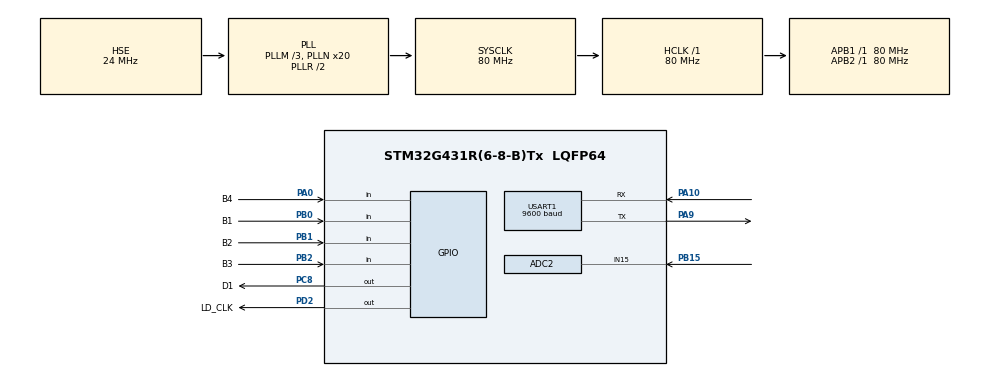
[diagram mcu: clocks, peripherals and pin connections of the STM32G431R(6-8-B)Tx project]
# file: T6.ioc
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ADC2.Channel-0\#ChannelRegularConversion=ADC_CHANNEL_15
ADC2.NbrOfConversionFlag=1
ADC2.OffsetNumber-0\#ChannelRegularConversion=ADC_OFFSET_NONE
ADC2.Rank-0\#ChannelRegularConversion=1
ADC2.SamplingTime-0\#ChannelRegularConversion=ADC_SAMPLETIME_2CYCLES_5
Mcu.Family=STM32G4
Mcu.Name=STM32G431R(6-8-B)Tx
Mcu.Package=LQFP64
NVIC.PriorityGroup=NVIC_PRIORITYGROUP_4
NVIC.RTC_Alarm_IRQn=true\:0\:0\:false\:false\:true\:true\:true
NVIC.TIM4_IRQn=true\:0\:0\:false\:false\:true\:true\:true
NVIC.USART1_IRQn=true\:0\:0\:false\:false\:true\:true\:true
PA0.GPIO_Label=B4
PA0.Signal=GPIO_Input
PA10.Mode=Asynchronous
PA10.Signal=USART1_RX
PA9.Mode=Asynchronous
PA9.Signal=USART1_TX
PB0.GPIO_Label=B1
PB0.Signal=GPIO_Input
PB1.GPIO_Label=B2
PB1.Signal=GPIO_Input
PB15.Mode=IN15-Single-Ended
PB15.Signal=ADC2_IN15
PB2.GPIO_Label=B3
PB2.Signal=GPIO_Input
PC14-OSC32_IN.Mode=LSE-External-Oscillator
PC14-OSC32_IN.Signal=RCC_OSC32_IN
PC15-OSC32_OUT.Mode=LSE-External-Oscillator
PC15-OSC32_OUT.Signal=RCC_OSC32_OUT
PC8.GPIO_Label=D1
PC8.Signal=GPIO_Output
PD2.GPIO_Label=LD_CLK
PD2.Signal=GPIO_Output
PF0-OSC_IN.Mode=HSE-External-Oscillator
PF0-OSC_IN.Signal=RCC_OSC_IN
PF1-OSC_OUT.Mode=HSE-External-Oscillator
PF1-OSC_OUT.Signal=RCC_OSC_OUT
ProjectManager.HeapSize=0x200
ProjectManager.StackSize=0x400
ProjectManager.TargetToolchain=MDK-ARM V5.27
RCC.ADC12Freq_Value=80000000
RCC.AHBFreq_Value=80000000
RCC.APB1Freq_Value=80000000
RCC.APB1TimFreq_Value=80000000
RCC.APB2Freq_Value=80000000
RCC.APB2TimFreq_Value=80000000
RCC.CortexFreq_Value=80000000
RCC.EXTERNAL_CLOCK_VALUE=12288000
RCC.HCLKFreq_Value=80000000
RCC.HSE_VALUE=24000000
RCC.HSI48_VALUE=48000000
RCC.HSI_VALUE=16000000
RCC.PLLM=RCC_PLLM_DIV3
RCC.PLLN=20
RCC.PLLSourceVirtual=RCC_PLLSOURCE_HSE
RCC.SYSCLKFreq_VALUE=80000000
RCC.SYSCLKSource=RCC_SYSCLKSOURCE_PLLCLK
RCC.USBFreq_Value=80000000
RCC.VCOOutputFreq_Value=160000000
RTC.Alarm-Alarm\ A=RTC_ALARM_A
RTC.AlarmDateWeekDay-Alarm\ A=2
RTC.AlarmDateWeekDaySel-Alarm\ A=RTC_ALARMDATEWEEKDAYSEL_DATE
RTC.Hours=23
RTC.Hours_A-Alarm\ A=0
RTC.Minutes=59
RTC.Minutes_A-Alarm\ A=0
RTC.Seconds=55
RTC.Seconds_A-Alarm\ A=0
TIM4.PeriodNoDither=1000-1
TIM4.Prescaler=80-1
USART1.BaudRate=9600
USART1.VirtualMode-Asynchronous=VM_ASYNC
VP_RTC_VS_RTC_Activate.Mode=RTC_Enabled
VP_RTC_VS_RTC_Alarm_A_Intern.Mode=Alarm A
VP_RTC_VS_RTC_Calendar.Mode=RTC_Calendar
VP_SYS_VS_DBSignals.Mode=DisableDeadBatterySignals
VP_TIM4_VS_ClockSourceINT.Mode=Internal
board=custom

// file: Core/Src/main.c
/* USER CODE BEGIN Header */
/**
  ******************************************************************************
  * @file           : main.c
  * @brief          : Main program body
  ******************************************************************************
  * @attention
  *
  * <h2><center>&copy; Copyright (c) 2021 STMicroelectronics.
  * All rights reserved.</center></h2>
  *
  * This software component is licensed by ST under BSD 3-Clause license,
  * the "License"; You may not use this file except in compliance with the
  * License. You may obtain a copy of the License at:
  *                        opensource.org/licenses/BSD-3-Clause
  *
  ******************************************************************************
  */
/* USER CODE END Header */
#include "main.h"
#include "adc.h"
#include "rtc.h"
#include "tim.h"
#include "usart.h"
#include "gpio.h"

/* USER CODE BEGIN Includes */
#include "lcd.h"
#include <stdio.h>
#include <string.h>
/* USER CODE END Includes */

/* USER CODE BEGIN PD */
#define DISPLAY_VIEW 0
#define SETTING_VIEW 1
#define HOUR_SELECT 1
#define MIN_SELECT 2
#define SEC_SELECT 3
/* USER CODE END PD */

/* USER CODE BEGIN PM */
#define KB1 HAL_GPIO_ReadPin(B1_GPIO_Port, B1_Pin)
#define KB2 HAL_GPIO_ReadPin(B2_GPIO_Port, B2_Pin)
#define KB3 HAL_GPIO_ReadPin(B3_GPIO_Port, B3_Pin)
#define KB4 HAL_GPIO_ReadPin(B4_GPIO_Port, B4_Pin)

/* USER CODE END PM */

/* USER CODE BEGIN PV */
_Bool LED_State = 1;//led的状态
_Bool Led_Flag = 0;
_Bool Key_Flag = 0;
_Bool Adc_Flag = 0;
_Bool Alarm_Flag = 0;
_Bool rx_Flag = 0;
RTC_TimeTypeDef sTime;
RTC_DateTypeDef sDate;
RTC_AlarmTypeDef sAlarm;
uint16_t Led_Val;//led的值
uint8_t View_Model = 0;//展示的页面
float VDD = 3.3;
float v1_val;//电压值
float k_val = 0.1;//k的值

uint8_t Setting_Model = 1;//要设置的时间
uint8_t hour, min, sec;
uint8_t ahour, amin, asec;

uint8_t rx_buff[1];
uint8_t rx_data[100];
uint16_t rx_count;
/* USER CODE END PV */

void SystemClock_Config(void);

/* USER CODE BEGIN 0 */
//控制LED灯的函数
void TurnOff_LEDS()
{
	Led_Val = 0xFF00;
	HAL_GPIO_WritePin(LD_CLK_GPIO_Port, LD_CLK_Pin, GPIO_PIN_SET);
	GPIOC->ODR = (uint32_t)Led_Val;
	HAL_GPIO_WritePin(LD_CLK_GPIO_Port, LD_CLK_Pin, GPIO_PIN_RESET);
}
void TurnOn_LED(uint8_t i)
{
	Led_Val &= ~(0x01<<(7+i));
	HAL_GPIO_WritePin(LD_CLK_GPIO_Port, LD_CLK_Pin, GPIO_PIN_SET);
	GPIOC->ODR = (uint32_t)Led_Val;
	HAL_GPIO_WritePin(LD_CLK_GPIO_Port, LD_CLK_Pin, GPIO_PIN_RESET);
}
void TurnOff_LED(uint8_t i)
{
	Led_Val |= (0x01<<(7+i));
	HAL_GPIO_WritePin(LD_CLK_GPIO_Port, LD_CLK_Pin, GPIO_PIN_SET);
	GPIOC->ODR = (uint32_t)Led_Val;
	HAL_GPIO_WritePin(LD_CLK_GPIO_Port, LD_CLK_Pin, GPIO_PIN_RESET);
}
_Bool ledodd = 1;
void LD_Blink()
{
	if(ledodd)
	{
		TurnOn_LED(1);
	}else{
		TurnOff_LED(1);
	}
	ledodd = !ledodd;
}
//获取ADC
uint32_t getADC(void)
{
	uint32_t adc = 0;

	HAL_ADC_Start(&hadc2);
	adc = HAL_ADC_GetValue(&hadc2);

	return adc;
}
void Display()
{
	uint8_t buf[30];
	if(Adc_Flag)
	{
		Adc_Flag = 0;
		v1_val = getADC() / 4096.0f *3.3f;
	}
	sprintf((char *)buf, "   V1: %.2f", v1_val);
	LCD_DisplayStringLine(Line2, (uint8_t *)buf);
	sprintf((char *)buf, "   k: %.1f", k_val);
	LCD_DisplayStringLine(Line3, (uint8_t *)buf);
	if(LED_State)
	{
		LCD_DisplayStringLine(Line4, (uint8_t *)"   LED: ON ");
	}else{
		LCD_DisplayStringLine(Line4, (uint8_t *)"   LED: OFF");
	}
	HAL_RTC_GetTime(&hrtc, &sTime, RTC_FORMAT_BIN);
	HAL_RTC_GetDate(&hrtc, &sDate, RTC_FORMAT_BIN);
	hour = sTime.Hours;
	min = sTime.Minutes;
	sec = sTime.Seconds;
	sprintf((char *)buf, "   T:%02d-%02d-%02d", hour, min, sec);
	LCD_DisplayStringLine(Line5, (uint8_t *)buf);
	LCD_DisplayStringLine(Line8, (uint8_t *)"                 1");
}

void Setting()
{
	LCD_SetTextColor(Black);
	LCD_DisplayStringLine(Line2, (uint8_t *)"       SETTING   ");
	if(Setting_Model == HOUR_SELECT)
	{
		LCD_SetTextColor(Red);
		LCD_DisplayChar(Line4, 319 -16 *6, ahour/10+48);
		LCD_DisplayChar(Line4, 319 -16 *7, ahour%10+48);
		LCD_SetTextColor(Black);
	}else{
		LCD_SetTextColor(Black);
		LCD_DisplayChar(Line4, 319 -16 *6, ahour/10+48);
		LCD_DisplayChar(Line4, 319 -16 *7, ahour%10+48);
	}

	if(Setting_Model == MIN_SELECT)
	{
		LCD_SetTextColor(Red);
		LCD_DisplayChar(Line4, 319 -16 *9, amin/10+48);
		LCD_DisplayChar(Line4, 319 -16 *10, amin%10+48);
		LCD_SetTextColor(Black);
	}else{
		LCD_SetTextColor(Black);
		LCD_DisplayChar(Line4, 319 -16 *9, amin/10+48);
		LCD_DisplayChar(Line4, 319 -16 *10, amin%10+48);
	}

	if(Setting_Model == SEC_SELECT)
	{
		LCD_SetTextColor(Red);
		LCD_DisplayChar(Line4, 319 -16 *12, asec/10+48);
		LCD_DisplayChar(Line4, 319 -16 *13, asec%10+48);
		LCD_SetTextColor(Black);
	}else{
		LCD_SetTextColor(Black);
		LCD_DisplayChar(Line4, 319 -16 *12, asec/10+48);
		LCD_DisplayChar(Line4, 319 -16 *13, asec%10+48);
	}
	LCD_SetTextColor(Black);
	LCD_DisplayChar(Line4, 319 -16 *8, '-');
	LCD_DisplayChar(Line4, 319 -16 *11, '-');
	LCD_DisplayStringLine(Line8, (uint8_t *)"                 2");
}
void ReadKey()
{
	//按键1
	static uint8_t b1_sum;
	if(KB1 == 0)
	{
		b1_sum++;
		if(b1_sum == 1)
		{
			LED_State = !LED_State;
		}
	}else if(KB1 == 1)
	{
		b1_sum = 0;
	}
	//按键2
	static uint8_t b2_sum;
	if(KB2 == 0)
	{
		b2_sum++;
		if(b2_sum == 1)
		{
			switch(View_Model)
			{
				case DISPLAY_VIEW://进入设置界面
					HAL_RTC_GetAlarm(&hrtc, &sAlarm, RTC_ALARM_A,RTC_FORMAT_BIN);
					ahour = sAlarm.AlarmTime.Hours;
					amin = sAlarm.AlarmTime.Minutes;
					asec = sAlarm.AlarmTime.Seconds;
					LCD_Clear(White);
					View_Model = SETTING_VIEW;
					break;
				case SETTING_VIEW:
					LCD_Clear(White);
					sAlarm.AlarmTime.Hours = ahour;
					sAlarm.AlarmTime.Minutes = amin;
					sAlarm.AlarmTime.Seconds = asec;
					HAL_RTC_SetAlarm_IT(&hrtc, &sAlarm, RTC_FORMAT_BIN);
					View_Model = DISPLAY_VIEW;
					break;
			}
		}
	}else if(KB2 == 1)
	{
		b2_sum = 0;
	}

	//按键3
	static uint8_t b3_sum;
	if(KB3 == 0)
	{
		b3_sum++;
		if(b3_sum == 1 && View_Model == SETTING_VIEW)
		{
			Setting_Model = Setting_Model % 3 + 1;
		}
	}else if(KB3 == 1)
	{
		b3_sum = 0;
	}

	//按键4
	static uint8_t b4_sum;
	if(KB4 == 0)
	{
		b4_sum++;
		if(b4_sum == 1)
		{
				switch(Setting_Model)
				{
					case HOUR_SELECT:
						if(++ahour == 24)
						{
							ahour = 0;
						}
						break;
					case MIN_SELECT:
						if(++amin == 60)
						{
							amin = 0;
						}
						break;
					case SEC_SELECT:
						if(++asec == 60)
						{
							asec = 0;
						}
						break;
				}
		}
	}else if(KB4 == 1)
	{
		b4_sum = 0;
	}
}
void Display_Proc()
{
	switch(View_Model)
	{
		case DISPLAY_VIEW:
			Display();
			break;
		case SETTING_VIEW:
			Setting();
			break;
	}
}
int fputc(int ch, FILE *f)
{
	HAL_UART_Transmit(&huart1, (uint8_t *)&ch, 1, HAL_MAX_DELAY);
	return ch;
}

/* USER CODE END 0 */

int main(void)
{

  /* MCU Configuration--------------------------------------------------------*/

  /* Reset of all peripherals, Initializes the Flash interface and the Systick. */
  HAL_Init();

  /* Configure the system clock */
  SystemClock_Config();

  /* Initialize all configured peripherals */
  MX_GPIO_Init();
  MX_RTC_Init();
  MX_USART1_UART_Init();
  MX_TIM4_Init();
  MX_ADC2_Init();
  /* USER CODE BEGIN 2 */
	HAL_ADCEx_Calibration_Start(&hadc2, ADC_SINGLE_ENDED);
	//初始化LCD
	LCD_Init();
	LCD_Clear(White);
	LCD_SetBackColor(White);
	LCD_SetTextColor(Black);

	TurnOff_LEDS();
	//开启RTC时钟
	HAL_RTC_SetAlarm_IT(&hrtc, &sAlarm, RTC_FORMAT_BIN);
	//启动定时器4中断
	HAL_TIM_Base_Start_IT(&htim4);
	//开启串口中断接收
	HAL_UART_Receive_IT(&huart1, rx_buff, 1);
  /* USER CODE END 2 */

  /* Infinite loop */
  /* USER CODE BEGIN WHILE */
  while (1)
  {
		Display_Proc();
    /* USER CODE END WHILE */

    /* USER CODE BEGIN 3 */
		if(Key_Flag)
		{
			Key_Flag = 0;
			ReadKey();
		}
		if(Led_Flag && LED_State)
		{
			Led_Flag = 0;
			if(v1_val > (float)(VDD*k_val))
			{
				LD_Blink();
			}
		}else if(!LED_State){
			TurnOff_LED(1);
		}
		if(Alarm_Flag)
		{
			HAL_RTC_GetTime(&hrtc, &sTime, RTC_FORMAT_BIN);
			HAL_RTC_GetDate(&hrtc, &sDate, RTC_FORMAT_BIN);
			printf("%.2f+%.1f+%02d%02d%02d\n", v1_val, k_val, sTime.Hours, sTime.Minutes, sTime.Seconds);
			Alarm_Flag = 0;
		}
		if(rx_Flag)
		{
			if(rx_count == 4 && rx_data[0] == 'k')
			{
				if(rx_data[1] == '0' && rx_data[2] == '.' && (rx_data[3] >= '1' && rx_data[3] <= '9'))
				{
					printf("ok\n");
					k_val = (float)(rx_data[3] - 48) * 0.1f;
				}else{
					printf("Error\n");
				}
			}else{
				printf("Error\n");
			}
			rx_count = 0;
			memset(rx_data, 0, sizeof(rx_data));
			rx_Flag = 0;

		}
  }
  /* USER CODE END 3 */
}

void SystemClock_Config(void)
{
  RCC_OscInitTypeDef RCC_OscInitStruct = {0};
  RCC_ClkInitTypeDef RCC_ClkInitStruct = {0};
  RCC_PeriphCLKInitTypeDef PeriphClkInit = {0};

  /** Configure the main internal regulator output voltage
  */
  HAL_PWREx_ControlVoltageScaling(PWR_REGULATOR_VOLTAGE_SCALE1);
  /** Initializes the RCC Oscillators according to the specified parameters
  * in the RCC_OscInitTypeDef structure.
  */
  RCC_OscInitStruct.OscillatorType = RCC_OSCILLATORTYPE_LSI|RCC_OSCILLATORTYPE_HSE;
  RCC_OscInitStruct.HSEState = RCC_HSE_ON;
  RCC_OscInitStruct.LSIState = RCC_LSI_ON;
  RCC_OscInitStruct.PLL.PLLState = RCC_PLL_ON;
  RCC_OscInitStruct.PLL.PLLSource = RCC_PLLSOURCE_HSE;
  RCC_OscInitStruct.PLL.PLLM = RCC_PLLM_DIV3;
  RCC_OscInitStruct.PLL.PLLN = 20;
  RCC_OscInitStruct.PLL.PLLP = RCC_PLLP_DIV2;
  RCC_OscInitStruct.PLL.PLLQ = RCC_PLLQ_DIV2;
  RCC_OscInitStruct.PLL.PLLR = RCC_PLLR_DIV2;
  if (HAL_RCC_OscConfig(&RCC_OscInitStruct) != HAL_OK)
  {
    Error_Handler();
  }
  /** Initializes the CPU, AHB and APB buses clocks
  */
  RCC_ClkInitStruct.ClockType = RCC_CLOCKTYPE_HCLK|RCC_CLOCKTYPE_SYSCLK
                              |RCC_CLOCKTYPE_PCLK1|RCC_CLOCKTYPE_PCLK2;
  RCC_ClkInitStruct.SYSCLKSource = RCC_SYSCLKSOURCE_PLLCLK;
  RCC_ClkInitStruct.AHBCLKDivider = RCC_SYSCLK_DIV1;
  RCC_ClkInitStruct.APB1CLKDivider = RCC_HCLK_DIV1;
  RCC_ClkInitStruct.APB2CLKDivider = RCC_HCLK_DIV1;

  if (HAL_RCC_ClockConfig(&RCC_ClkInitStruct, FLASH_LATENCY_2) != HAL_OK)
  {
    Error_Handler();
  }
  /** Initializes the peripherals clocks
  */
  PeriphClkInit.PeriphClockSelection = RCC_PERIPHCLK_RTC|RCC_PERIPHCLK_USART1
                              |RCC_PERIPHCLK_ADC12;
  PeriphClkInit.Usart1ClockSelection = RCC_USART1CLKSOURCE_PCLK2;
  PeriphClkInit.Adc12ClockSelection = RCC_ADC12CLKSOURCE_SYSCLK;
  PeriphClkInit.RTCClockSelection = RCC_RTCCLKSOURCE_LSI;

  if (HAL_RCCEx_PeriphCLKConfig(&PeriphClkInit) != HAL_OK)
  {
    Error_Handler();
  }
}

/* USER CODE BEGIN 4 */
void HAL_UART_RxCpltCallback(UART_HandleTypeDef *huart)
{
 if(huart->Instance == USART1)
 {
	 rx_data[rx_count] = rx_buff[0];
	 if(rx_data[rx_count] == 0x0A)
	 {
		 printf("%c", rx_data[rx_count]);
		 rx_Flag = 1;
	 }else{
		 rx_count++;
	 }
	 HAL_UART_Receive_IT(&huart1, rx_buff, 1);
 }
}
void HAL_TIM_PeriodElapsedCallback(TIM_HandleTypeDef *htim)
{
	HAL_TIM_Base_Start_IT(&htim4);
	static uint8_t led_count;
	static uint8_t key_count;
	static uint16_t adc_count;
	if(htim->Instance == 	TIM4)
	{
		if(++led_count == 200)
		{
			led_count = 0;
			Led_Flag = 1;
		}
		if(++key_count == 10)
		{
			key_count = 0;
			Key_Flag = 1;
		}
		if(++adc_count == 500)
		{
			adc_count = 0;
			Adc_Flag = 1;
		}
	}
}

void HAL_RTC_AlarmAEventCallback(RTC_HandleTypeDef *hrtc)
{
	Alarm_Flag = 1;
	HAL_RTC_SetAlarm_IT(hrtc, &sAlarm, RTC_FORMAT_BIN);
}

/* USER CODE END 4 */

void Error_Handler(void)
{
  __disable_irq();
  while (1)
  {
  }
}

/************************ (C) COPYRIGHT STMicroelectronics *****END OF FILE****/
